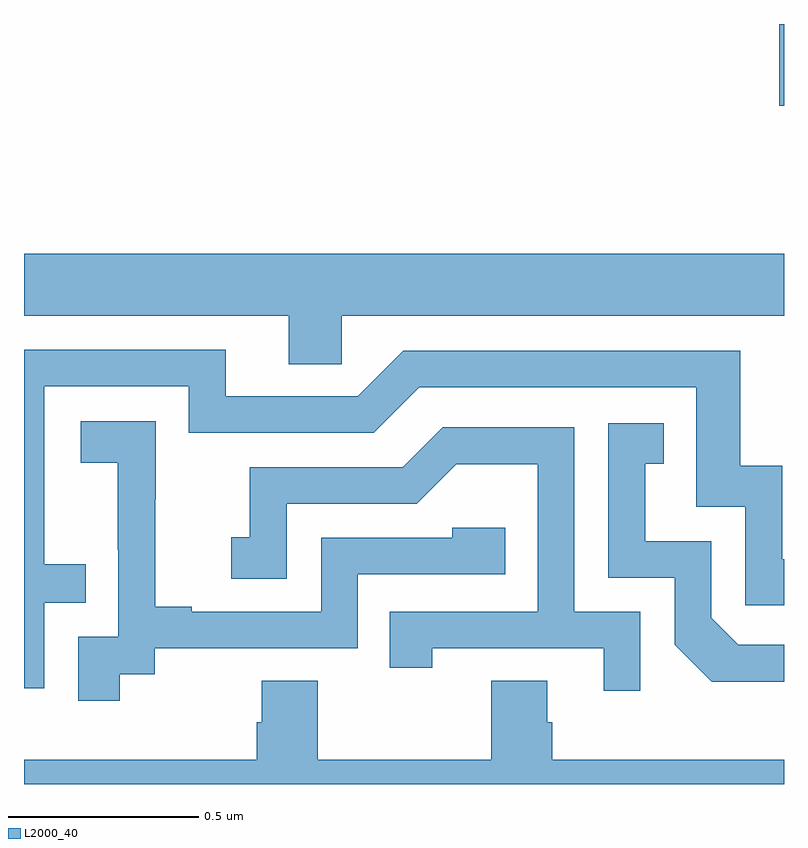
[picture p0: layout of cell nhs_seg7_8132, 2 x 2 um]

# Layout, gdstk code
import gdstk
lib = gdstk.Library(unit=1e-6, precision=1e-09)
def R(c, l, rs):  # rectangles x0, y0, x1, y1
    for r in rs: c.add(gdstk.rectangle(r[:2], r[2:], *l))
def P(c, l, *ps):  # polygons
    for p in ps: c.add(gdstk.Polygon(p, *l))
L2000_40 = (2000, 40)

nhs_seg7_8132 = lib.new_cell('nhs_seg7_8132')
R(nhs_seg7_8132, L2000_40, [(221.987,1051.785,222,1052)])
P(nhs_seg7_8132, L2000_40, [(220,1051.232),(220.697,1051.232),(220.697,1051.105),(220.836,1051.105),(220.836,1051.232),(222,1051.232),(222,1051.396),(220,1051.396)],
  [(220.053,1050.477),(220.163,1050.477),(220.163,1050.578),(220.053,1050.578),(220.053,1051.047),(220.434,1051.047),(220.434,1050.924),(220.92,1050.924),(221.04,1051.044),(221.769,1051.044),(221.769,1050.729),(221.898,1050.729),(221.898,1050.471),(222,1050.471),(222,1050.591),(221.996,1050.591),(221.996,1050.838),(221.885,1050.838),(221.885,1051.14),(220.998,1051.14),(220.878,1051.02),(220.531,1051.02),(220.531,1051.143),(220,1051.143),(220,1050.252),(220.053,1050.252)],
  [(220.252,1050.289),(220.344,1050.289),(220.344,1050.357),(220.878,1050.357),(220.878,1050.552),(221.267,1050.552),(221.267,1050.675),(221.127,1050.675),(221.127,1050.648),(220.782,1050.648),(220.782,1050.453),(220.441,1050.453),(220.441,1050.466),(220.346,1050.466),(220.346,1050.749),(220.347,1050.749),(220.347,1050.955),(220.149,1050.955),(220.149,1050.845),(220.247,1050.845),(220.247,1050.617),(220.248,1050.617),(220.248,1050.387),(220.143,1050.387),(220.143,1050.219),(220.252,1050.219)],
  [(222,1050.366),(221.88,1050.366),(221.808,1050.438),(221.808,1050.639),(221.635,1050.639),(221.635,1050.843),(221.684,1050.843),(221.684,1050.949),(221.538,1050.949),(221.538,1050.543),(221.712,1050.543),(221.712,1050.366),(221.81,1050.269),(222,1050.269)],
  [(221.622,1050.453),(221.448,1050.453),(221.448,1050.939),(221.102,1050.939),(220.997,1050.834),(220.594,1050.834),(220.594,1050.649),(220.545,1050.649),(220.545,1050.54),(220.692,1050.54),(220.692,1050.738),(221.034,1050.738),(221.138,1050.842),(221.352,1050.842),(221.352,1050.453),(220.963,1050.453),(220.963,1050.306),(221.074,1050.306),(221.074,1050.357),(221.525,1050.357),(221.525,1050.246),(221.622,1050.246)],
  [(222,1050.064),(221.39,1050.064),(221.39,1050.162),(221.377,1050.162),(221.377,1050.272),(221.23,1050.272),(221.23,1050.064),(220.773,1050.064),(220.773,1050.272),(220.625,1050.272),(220.625,1050.162),(220.613,1050.162),(220.613,1050.064),(220,1050.064),(220,1050),(222,1050)])

lib.write_gds('nhs_seg7_8132.gds')
